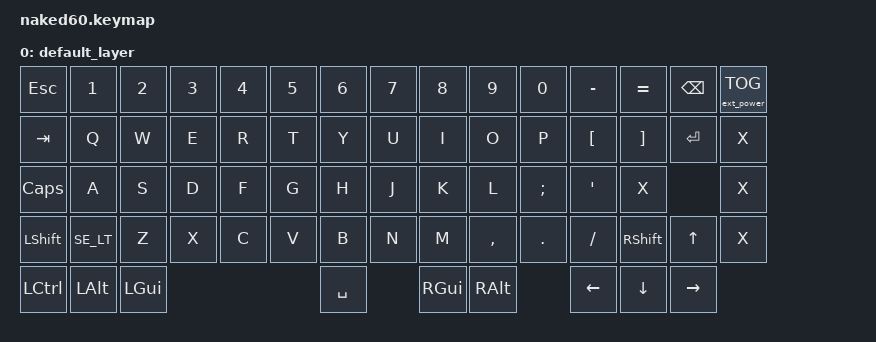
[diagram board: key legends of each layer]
#include <behaviors.dtsi>
#include <dt-bindings/zmk/bt.h>
#include <dt-bindings/zmk/keys.h>
#include <dt-bindings/zmk/ext_power.h>
#include "keys_se.h"

/ {
    // behaviors {
    //     f1_bt_0: f1_bt_0 {
    //         compatible = "zmk,behavior-mod-morph";
    //         label = "f1_bt_0";
    //         #binding-cells = <0>;
    //         bindings = <&kp F1>, <&bt BT_SEL 0>;
    //         mods = <(MOD_LSFT|MOD_RSFT)>;
    //     };

    //     f2_bt_1: f2_bt_1 {
    //         compatible = "zmk,behavior-mod-morph";
    //         label = "f2_bt_1";
    //         #binding-cells = <0>;
    //         bindings = <&kp F2>, <&bt BT_SEL 1>;
    //         mods = <(MOD_LSFT|MOD_RSFT)>;
    //     };

    //     f3_bt_2: f3_bt_2 {
    //         compatible = "zmk,behavior-mod-morph";
    //         label = "f3_bt_2";
    //         #binding-cells = <0>;
    //         bindings = <&kp F3>, <&bt BT_SEL 2>;
    //         mods = <(MOD_LSFT|MOD_RSFT)>;
    //     };

    //     f4_bt_3: f4_bt_3 {
    //         compatible = "zmk,behavior-mod-morph";
    //         label = "f4_bt_3";
    //         #binding-cells = <0>;
    //         bindings = <&kp F4>, <&bt BT_SEL 3>;
    //         mods = <(MOD_LSFT|MOD_RSFT)>;
    //     };

    //     f11_bt_clear: f11_bt_clear {
    //         compatible = "zmk,behavior-mod-morph";
    //         label = "f11_bt_clear";
    //         #binding-cells = <0>;
    //         bindings = <&kp F11>, <&bt BT_CLR_ALL>;
    //         mods = <(MOD_LSFT|MOD_RSFT)>;
    //     };

    //     f12_reset: f12_reset {
    //         compatible = "zmk,behavior-mod-morph";
    //         label = "f12_reset";
    //         #binding-cells = <0>;
    //         bindings = <&kp F12>, <&sys_reset>;
    //         mods = <(MOD_LSFT|MOD_RSFT)>;
    //     };
    // };
    
    keymap {
        compatible = "zmk,keymap";

        default_layer {
            bindings = <
                &kp ESC    &kp N1    &kp N2    &kp N3  &kp N4  &kp N5  &kp N6     &kp N7  &kp N8     &kp N9    &kp N0    &kp MINUS  &kp EQUAL       &kp BSPC        &ext_power EP_TOG
                &kp TAB    &kp Q     &kp W     &kp E   &kp R   &kp T   &kp Y      &kp U   &kp I      &kp O     &kp P     &kp LBKT   &kp RBKT        &kp ENTER       &kp X
                &kp CAPS   &kp A     &kp S     &kp D   &kp F   &kp G   &kp H      &kp J   &kp K      &kp L     &kp SEMI  &kp APOS   &kp X                           &kp X
                &kp LSHFT  &kp SE_LT    &kp Z     &kp X   &kp C   &kp V   &kp B      &kp N   &kp M      &kp COMMA &kp DOT   &kp FSLH  &kp RSHFT  &kp UP_ARROW          &kp X
                &kp LCTRL  &kp LALT  &kp LGUI                          &kp SPACE          &kp RGUI   &kp RALT              &kp LEFT_ARROW  &kp DOWN_ARROW  &kp RIGHT_ARROW
            >;
        };
    };

    rgb_indicators {
    compatible = "zmk,rgb-indicators";

    capslock {
        color = <0x00 0xFF 0x00>; // green
        index = <0>;             // LED index to override
        behavior = <&caps_lock>; // behavior to match
    };
};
